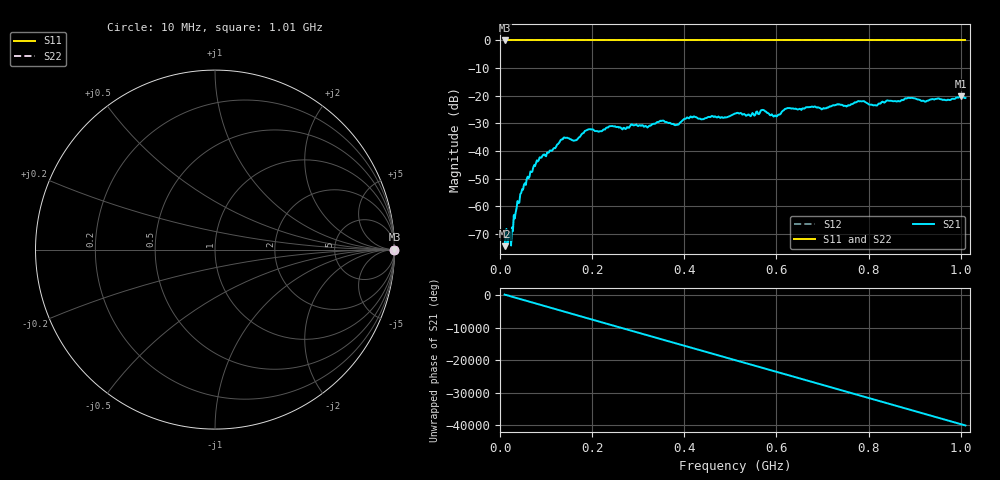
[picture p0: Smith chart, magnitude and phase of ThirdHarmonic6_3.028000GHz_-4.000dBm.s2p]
! 8/17/2025 8:43:56 AM
! C:\ANRITSUVNA\TEMP\TEMP.S2P
! CHANNEL.1
! TR.MEASUREMENT
! RAW.DATA
! RF.CORRECTION.OFF
! AVERAGING.OFF
! IF.BANDWIDTH: 5KHZ
! SWEEPTYPE:  FREQ.SWEEP(Linear)
! Reference Plane Port Info
! PORT:  PORT1  PORT2
! DISTANCE:  0  m  0  m
! TIME:  0  s  0  s
! PHASE.OFFSET:  0  deg.  0  deg.
! LOSS:  0  dB  0  dB
! REF.LOSS:  0  dB  0  dB
! REF.FREQ:  0  Hz  0  Hz
! Power Info
! POWER:  -20  dBm  -20  dBm
! EFF.POWER:  -20  dBm  -20  dBm
! SOURCE.ATTEN:  0  dB  0  dB
! TEST.ATTEN:  0  dB  0  dB
# GHZ S RI R 50.0
! FREQ.GHZ  S11RE  S11IM  S21RE  S21IM  S12RE  S12IM  S22RE  S22IM
!; PortSelection: Port_12
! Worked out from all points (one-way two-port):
!   501 points, 10 MHz to 1.01 GHz, reference 50 ohm
!   highest |S21| = -20.16 dB at 1 GHz (marker M1); lowest = -74.4 dB at 10 MHz (marker M2)
!   lowest |S11| = 0.0 dB at 10 MHz (marker M3)
!   |S11| at or under -10 dB: nowhere
!   |S22| runs from 0.0 to 0.0 dB; largest |S21 - S12| = 1.1
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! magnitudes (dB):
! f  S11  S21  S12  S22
! 10 MHz  0.0  -74.4  0.0  0.0
! 16 MHz  0.0  -73.3  0.0  0.0
! 20 MHz  0.0  -69.1  0.0  0.0
! 48 MHz  0.0  -53.8  0.0  0.0
! 82 MHz  0.0  -43.8  0.0  0.0
! 136 MHz  0.0  -35.8  0.0  0.0
! 162 MHz  0.0  -36.2  0.0  0.0
! 178 MHz  0.0  -33.8  0.0  0.0
! 194 MHz  0.0  -32.1  0.0  0.0
! 322 MHz  0.0  -31.2  0.0  0.0
! 344 MHz  0.0  -29.5  0.0  0.0
! 384 MHz  0.0  -30.4  0.0  0.0
! 416 MHz  0.0  -27.8  0.0  0.0
! 510 MHz  0.0  -26.4  0.0  0.0
! 570 MHz  0.0  -25.1  0.0  0.0
! 598 MHz  0.0  -27.2  0.0  0.0
! 622 MHz  0.0  -24.6  0.0  0.0
! 678 MHz  0.0  -23.9  0.0  0.0
! 814 MHz  0.0  -23.4  0.0  0.0
! 844 MHz  0.0  -21.8  0.0  0.0
! 1 GHz  0.0  -20.2  0.0  0.0
! 1.01 GHz  0.0  -20.8  0.0  0.0
